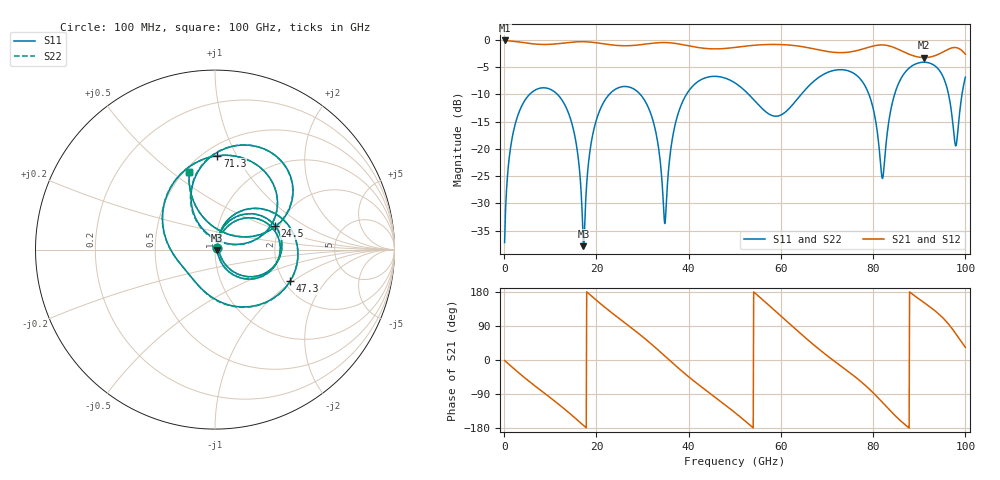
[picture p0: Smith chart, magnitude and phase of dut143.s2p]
! Touchstone file exported from HFSS 2026.1.0
!  File:  C:/ffzhzh/LocalFiles/Ansys_Project_Files/temp_train_TSV_RDL_143_1783462657_41684.aedt
!  Generated:  06:28:07 AM Jul  8, 2026
!  Design:  TSV_RDL
!  Project:  temp_train_TSV_RDL_143_1783462657_41684
! Variables:
!  h_bsmrdl = 3.63um
!  h_ox = 20um
!  h_rdl = 5um
!  h_sub = 86.05um
!  h_tmrdl = 3.49um
!  h_tsv = 86.05um
!  h_via = 3um
!  l_bsmrdl = 614.32um
!  l_sub = 3211.18um
!  l_tmrdl = 201.99um
!  m_sub = 200um
!  pitch = 50.6um
!  r_tsv = 14.29um
!  s_tmrdl = 10um
!  w_bsmrdl = 28.57um
!  w_sub = 500um
!  w_tmrdl = 24.85um
!  x_tsv_center1 = 214.415um
!  x_tsv_center2 = 857.305um
!  x_tsv_center3 = 1084.145um
!  x_tsv_center4 = 1727.035um
!  x_tsv_center5 = 1953.875um
!  x_tsv_center6 = 2596.765um
# GHz S MA R 50.000000
! Terminal data exported
! Port[1] = TM_RDL1_1_T1
! Port[2] = TM_RDL5_1_T1
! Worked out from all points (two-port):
!   1000 points, 100 MHz to 100 GHz, reference 50 ohm
!   highest |S21| = -0.09 dB at 100 MHz (marker M1); lowest = -3.2 dB at 91.1 GHz (marker M2)
!   |S21| within 3 dB of the highest: start of sweep to 89.54 GHz; 92.58 GHz to end of sweep
!   lowest |S11| = -37.8 dB at 17.2 GHz (marker M3), VSWR 1.03, Z = 51.3 - j0.151 ohm
!   |S11| at or under -10 dB: 11.57 GHz to 22.78 GHz (11.21 GHz wide, 65.3 % of centre); 29.52 GHz to 39.51 GHz (9.992 GHz wide, 28.9 % of centre); 53.02 GHz to 64.4 GHz (11.37 GHz wide, 19.4 % of centre) (the widest 3 of 6)
!   |S22| runs from -37.7 to -4.1 dB; largest |S21 - S12| = 4.4e-13
!   S11 on the Smith chart (normalised r, x): 100 MHz: 1.02, +0.02; 24.5 GHz: 1.89, +0.57; 47.3 GHz: 2.16, -0.95; 71.3 GHz: 0.58, +0.84; 100 GHz: 0.53, +0.58
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0.1  0.01384 37.3  0.9891 -1.2  0.9891 -1.2  0.01384 37.3
! Gamma 0 0 0 0
! Port Impedance 50 0 50 0
2.4  0.169 58.5  0.969 -25.9  0.969 -25.9  0.169 58.5
7.7  0.3603 9.4  0.9107 -78.0  0.9107 -78.0  0.3603 9.4
14.1  0.2052 -49.0  0.9485 -139.7  0.9485 -139.7  0.2052 -49.1
16.8  0.03324 -58.3  0.9635 -168.3  0.9635 -168.3  0.03327 -58.0
17.2  0.01282 -6.6  0.9632 -172.6  0.9632 -172.6  0.01304 -6.2
19.7  0.1666 65.1  0.9455 160.8  0.9455 160.8  0.1667 64.9
24.5  0.3601 21.5  0.8903 113.5  0.8903 113.5  0.3602 21.3
33.4  0.1076 -54.8  0.9427 26.2  0.9427 26.2  0.1076 -55.1
34.9  0.02106 21.5  0.9457 9.8  0.9457 9.8  0.02088 21.2
38.6  0.266 55.1  0.9064 -30.1  0.9064 -30.1  0.266 54.8
47.3  0.4543 -22.5  0.8319 -112.6  0.8319 -112.6  0.4543 -23.1
50.1  0.402 -48.1  0.8541 -139.4  0.8541 -139.4  0.402 -48.8
60.1  0.2057 -154.5  0.9063 115.1  0.9063 115.1  0.206 -154.6
66.7  0.4023 131.9  0.8355 44.2  0.8355 44.2  0.4023 132.4
71.3  0.523 88.6  0.7713 -0.4  0.7713 -0.4  0.5229 88.9
78.5  0.3613 26.0  0.844 -69.2  0.844 -69.2  0.3611 25.9
82  0.05357 64.7  0.8999 -111.6  0.8999 -111.6  0.05085 64.6
83.4  0.1792 122.1  0.8834 -129.8  0.8834 -129.8  0.1782 123.2
91.1  0.6247 60.6  0.6884 150.9  0.6884 150.9  0.6244 60.9
97.9  0.1066 64.0  0.8512 69.5  0.8512 69.5  0.107 64.3
100  0.455 108.3  0.739 33.3  0.739 33.3  0.4551 108.4
